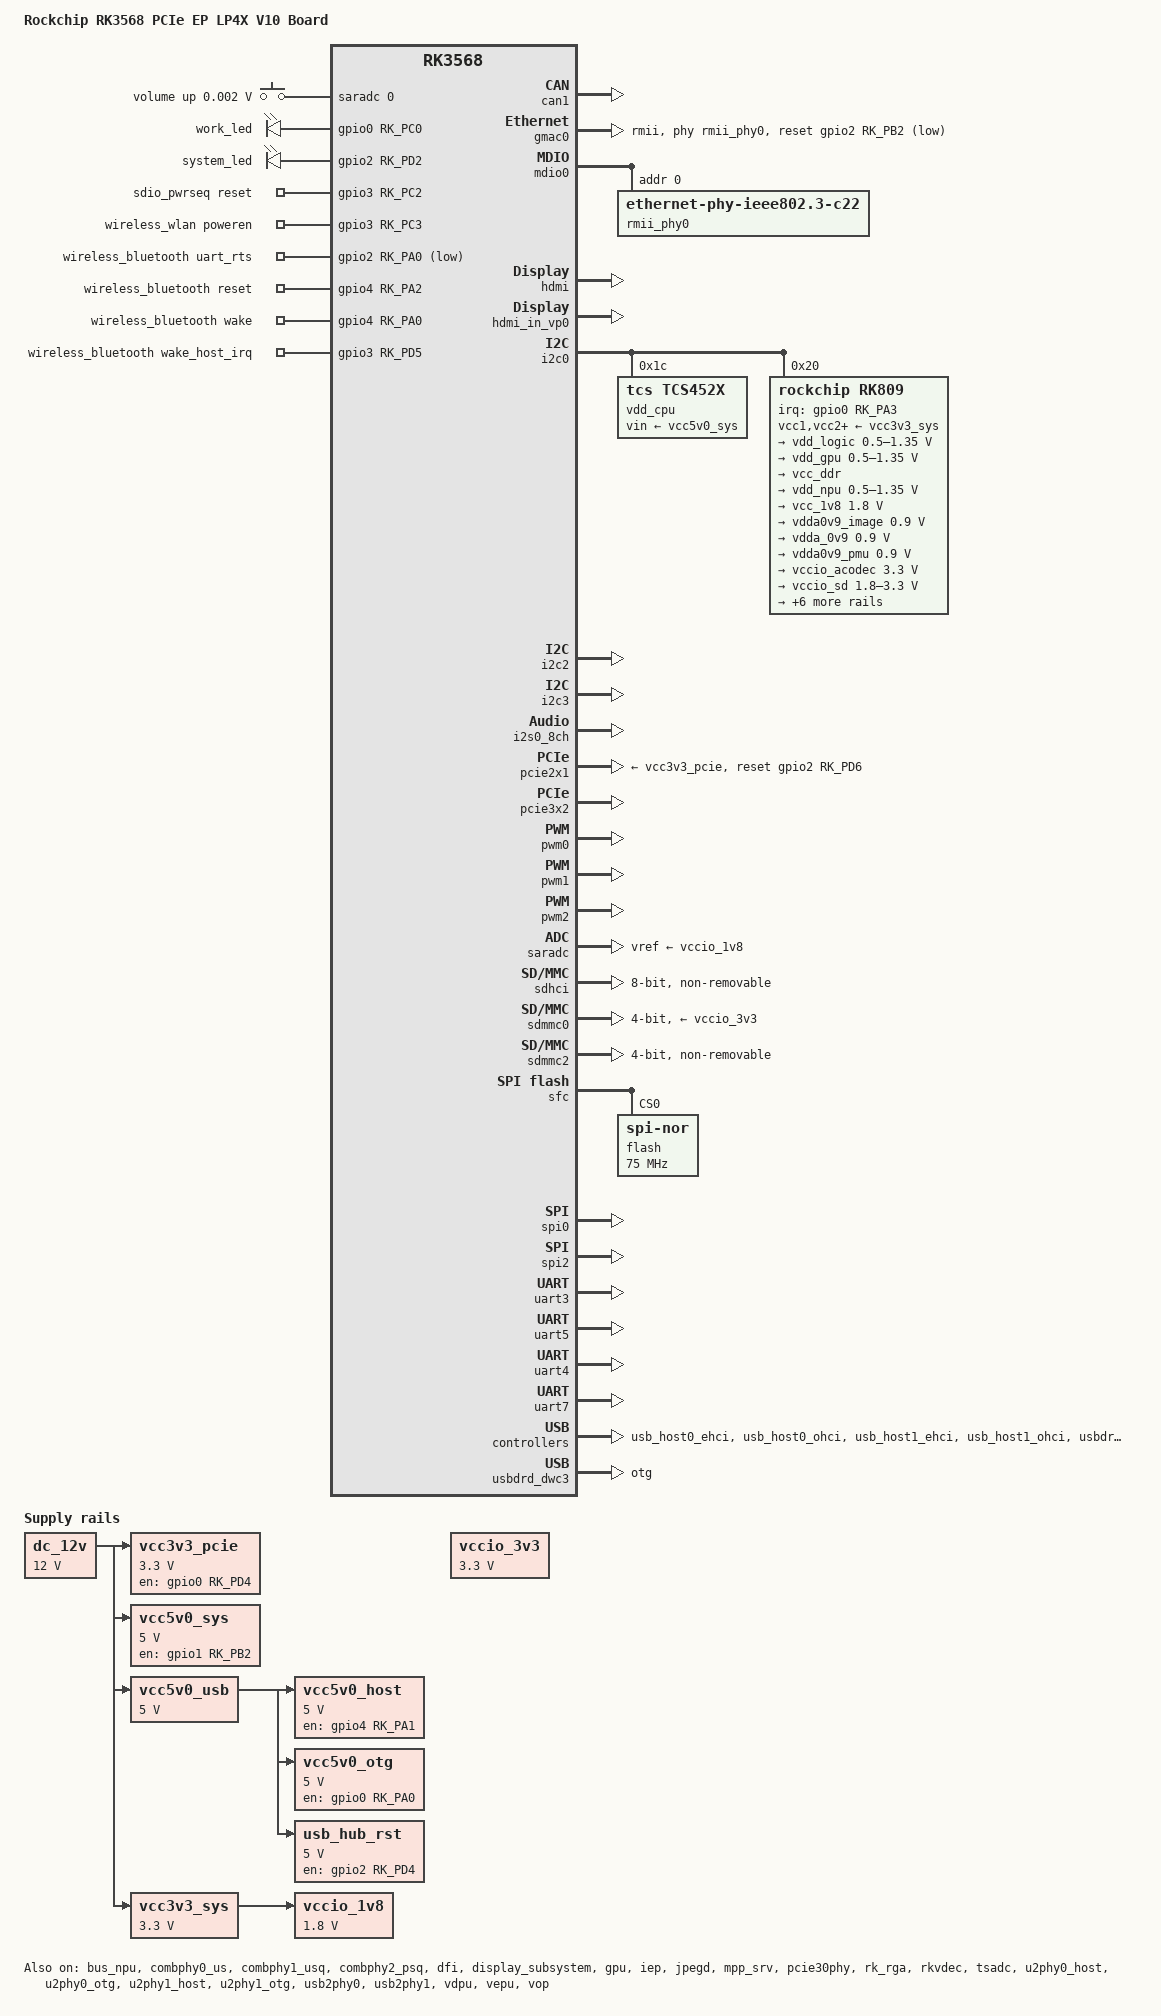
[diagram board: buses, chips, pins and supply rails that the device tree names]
// SPDX-License-Identifier: (GPL-2.0+ OR MIT)
/*
 * Copyright (c) 2023 Rockchip Electronics Co., Ltd.
 * 修改usb5V usb_hub_rst &vcc5v0_sys
 */

/dts-v1/;

#include <dt-bindings/gpio/gpio.h>
#include <dt-bindings/input/rk-input.h>
#include "rk3568.dtsi"

/ {
	model = "Rockchip RK3568 PCIe EP LP4X V10 Board";
	compatible = "rockchip,rk3568-pcie-ep-lp4x-v10", "rockchip,rk3568";

	aliases {
		ethernet0 = &gmac0;
	};

	adc_keys: adc-keys {
		compatible = "adc-keys";
		io-channels = <&saradc 0>;
		io-channel-names = "buttons";
		keyup-threshold-microvolt = <1800000>;
		poll-interval = <100>;

		vol-up-key {
			label = "volume up";
			linux,code = <KEY_VOLUMEUP>;
			press-threshold-microvolt = <1750>;
		};
	};
/*
	chosen: chosen {
		bootargs = "earlycon=uart8250,mmio32,0xfe660000 console=ttyFIQ0 root=PARTUUID=614e0000-0000 rw rootwait default_hugepagesz=32M hugepagesz=32M hugepages=1";
	};
*/
	dc_12v: dc-12v {
		compatible = "regulator-fixed";
		regulator-name = "dc_12v";
		regulator-always-on;
		regulator-boot-on;
		regulator-min-microvolt = <12000000>;
		regulator-max-microvolt = <12000000>;
	};

	fiq-debugger {
		compatible = "rockchip,fiq-debugger";
		rockchip,serial-id = <2>;
		rockchip,wake-irq = <0>;
		/* If enable uart uses irq instead of fiq */
		rockchip,irq-mode-enable = <1>;
		rockchip,baudrate = <1500000>;  /* Only 115200 and 1500000 */
		interrupts = <GIC_SPI 252 IRQ_TYPE_LEVEL_LOW>;
		pinctrl-names = "default";
		pinctrl-0 = <&uart2m0_xfer>;
		status = "okay";
	};

	hdmi_sound: hdmi-sound {
		status = "disabled";
		compatible = "rockchip,hdmi";
		rockchip,mclk-fs = <128>;
		rockchip,card-name = "rockchip-hdmi";
		rockchip,cpu = <&i2s0_8ch>;
		rockchip,codec = <&hdmi>;
		rockchip,jack-det;
	};

	leds: leds {
		compatible = "gpio-leds";

		work_led: work {
			gpios = <&gpio0 RK_PC0 GPIO_ACTIVE_HIGH>;
			linux,default-trigger = "heartbeat";
		};

		system_led: system-led {
			gpios = <&gpio2 RK_PD2 GPIO_ACTIVE_HIGH>;
			linux,default-trigger = "heartbeat";
		};
	};

	reserved-memory {
		#address-cells = <2>;
		#size-cells = <2>;
		ranges;
		bar0_region: bar0-region@0x3c000000 {
			reg = <0x0 0x3c000000 0x0 0x00400000>;
		};
		bar2_region: bar2-region@0x40000000 {
			reg = <0x0 0x40000000 0x0 0x04000000>;
		};
	};

	test-power {
		status = "okay";
	};

	sdio_pwrseq: sdio-pwrseq {
		compatible = "mmc-pwrseq-simple";
		clocks = <&rk809 1>;
		clock-names = "ext_clock";
		pinctrl-names = "default";
		pinctrl-0 = <&wifi_enable_h>;

		/*
		 * On the module itself this is one of these (depending
		 * on the actual card populated):
		 * - SDIO_RESET_L_WL_REG_ON
		 * - PDN (power down when low)
		 */
		post-power-on-delay-ms = <200>;
		reset-gpios = <&gpio3 RK_PC2 GPIO_ACTIVE_HIGH>;
	};

    wireless_wlan: wireless-wlan {
		compatible = "wlan-platdata";
		rockchip,grf = <&grf>;
		wifi_chip_type = "ap6398s";
		WIFI,poweren_gpio = <&gpio3 RK_PC3 GPIO_ACTIVE_HIGH>;
		status = "okay";
	};

	wireless_bluetooth: wireless-bluetooth {
		compatible = "bluetooth-platdata";
		clocks = <&rk809 1>;
		clock-names = "ext_clock";
		//wifi-bt-power-toggle;
		uart_rts_gpios = <&gpio2 RK_PA0 GPIO_ACTIVE_LOW>;
	    pinctrl-names = "default", "rts_gpio";
	    pinctrl-0 = <&uart5m0_rtsn>;
	    pinctrl-1 = <&uart5_gpios>;
	    BT,reset_gpio    = <&gpio4 RK_PA2 GPIO_ACTIVE_HIGH>;
	    BT,wake_gpio     = <&gpio4 RK_PA0 GPIO_ACTIVE_HIGH>;
	    BT,wake_host_irq = <&gpio3 RK_PD5 GPIO_ACTIVE_HIGH>;
		status = "okay";
	};

	vcc3v3_pcie: vcc3v3-pcie {
		compatible = "regulator-fixed";
		regulator-name = "vcc3v3_pcie";
		regulator-min-microvolt = <3300000>;
		regulator-max-microvolt = <3300000>;
		enable-active-high;
		gpio = <&gpio0 RK_PD4 GPIO_ACTIVE_HIGH>;
		startup-delay-us = <5000>;
		vin-supply = <&dc_12v>;
	};

	vcc5v0_sys: vcc5v0-sys {
		compatible = "regulator-fixed";
		regulator-name = "vcc5v0_sys";
		regulator-always-on;
		regulator-boot-on;
		regulator-min-microvolt = <5000000>;
		regulator-max-microvolt = <5000000>;
		vin-supply = <&dc_12v>;
	};

	vcc5v0_usb: vcc5v0-usb {
		compatible = "regulator-fixed";
		regulator-name = "vcc5v0_usb";
		regulator-always-on;
		regulator-boot-on;
		regulator-min-microvolt = <5000000>;
		regulator-max-microvolt = <5000000>;
		vin-supply = <&dc_12v>;
	};

	vcc5v0_host: vcc5v0-host-regulator {
		compatible = "regulator-fixed";
		regulator-name = "vcc5v0_host";
		regulator-boot-on;
		regulator-always-on;
		regulator-min-microvolt = <5000000>;
		regulator-max-microvolt = <5000000>;
		enable-active-high;
		gpio = <&gpio4 RK_PA1 GPIO_ACTIVE_HIGH>;
		vin-supply = <&vcc5v0_usb>;
		pinctrl-names = "default";
		pinctrl-0 = <&vcc5v0_host_en>;
	};

	vcc5v0_otg: vcc5v0-otg-regulator {
		compatible = "regulator-fixed";
		regulator-name = "vcc5v0_otg";
		regulator-min-microvolt = <5000000>;
		regulator-max-microvolt = <5000000>;
		enable-active-high;
		gpio = <&gpio0 RK_PA0 GPIO_ACTIVE_HIGH>;
		vin-supply = <&vcc5v0_usb>;
		pinctrl-names = "default";
		pinctrl-0 = <&vcc5v0_otg_en>;
	};

	usb_hub_rst: usb-hub-rst {
        compatible = "regulator-fixed";
        regulator-name = "usb_hub_rst";
        regulator-boot-on;
        regulator-always-on;
        regulator-min-microvolt = <5000000>;
        regulator-max-microvolt = <5000000>;
        enable-active-high;
        gpio = <&gpio2 RK_PD4 GPIO_ACTIVE_HIGH>;
        vin-supply = <&vcc5v0_usb>;
        pinctrl-names = "default";
        pinctrl-0 = <&usb_hub_rst_gpio>;
    };

	vcc3v3_sys: vcc3v3-sys {
		compatible = "regulator-fixed";
		regulator-name = "vcc3v3_sys";
		regulator-always-on;
		regulator-boot-on;
		regulator-min-microvolt = <3300000>;
		regulator-max-microvolt = <3300000>;
		vin-supply = <&dc_12v>;
	};

	vccio_1v8: vccio-1v8 {
		compatible = "regulator-fixed";
		regulator-name = "vccio_1v8";
		regulator-always-on;
		regulator-boot-on;
		regulator-min-microvolt = <1800000>;
		regulator-max-microvolt = <1800000>;
		vin-supply = <&vcc3v3_sys>;
	};

	vccio_3v3: vccio-3v3 {
		compatible = "regulator-fixed";
		regulator-name = "vccio_3v3";
		regulator-always-on;
		regulator-boot-on;
		regulator-min-microvolt = <3300000>;
		regulator-max-microvolt = <3300000>;
	};
};

&bus_npu {
	bus-supply = <&vdd_logic>;
	pvtm-supply = <&vdd_cpu>;
	status = "okay";
};

&can1 {
	assigned-clocks = <&cru CLK_CAN0>;
	assigned-clock-rates = <150000000>;
	pinctrl-names = "default";
	pinctrl-0 = <&can1m0_pins>;
	status = "okay";
};

&combphy0_us {
	status = "okay";
};

&combphy1_usq {
	status = "okay";
};

&combphy2_psq {
	 status = "okay";
};

&cpu0 {
	cpu-supply = <&vdd_cpu>;
};

&dfi {
	status = "okay";
};

&display_subsystem {
	status = "okay";
};

&gmac0 {
        phy-mode = "rmii";
        clock_in_out = "output";
        assigned-clocks = <&cru SCLK_GMAC0_RX_TX>, <&cru SCLK_GMAC0>;
        assigned-clock-parents = <&cru SCLK_GMAC0_RMII_SPEED>;
        assigned-clock-rates = <0>, <50000000>;
        snps,reset-gpio = <&gpio2 RK_PB2 GPIO_ACTIVE_LOW>;
        snps,reset-active-low;
        snps,reset-delays-us = <0 20000 100000>;
        pinctrl-names = "default";
        pinctrl-0 = <&gmac0_miim &gmac0_clkinout &gmac0_rx_bus2 &gmac0_tx_bus2>;
        phy-handle = <&rmii_phy0>;
        status = "okay";
};
&mdio0 {
        rmii_phy0: phy@0 {
        compatible = "ethernet-phy-ieee802.3-c22";
        reg = <0x0>;
        };
};

&gpu {
	mali-supply = <&vdd_gpu>;
	status = "okay";
};

&hdmi {
	status = "okay";
	rockchip,phy-table =
		<92812500  0x8009 0x0000 0x0270>,
		<165000000 0x800b 0x0000 0x026d>,
		<185625000 0x800b 0x0000 0x01ed>,
		<297000000 0x800b 0x0000 0x01ad>,
		<594000000 0x8029 0x0000 0x0088>,
		<000000000 0x0000 0x0000 0x0000>;
};

&hdmi_in_vp0 {
	status = "okay";
};

&hdmi_sound {
	status = "okay";
};

&i2c0 {
	status = "okay";

	vdd_cpu: tcs4525@1c {
		compatible = "tcs,tcs452x";
		reg = <0x1c>;
		vin-supply = <&vcc5v0_sys>;
		regulator-compatible = "fan53555-reg";
		regulator-name = "vdd_cpu";
		regulator-min-microvolt = <712500>;
		regulator-max-microvolt = <1390000>;
		regulator-init-microvolt = <900000>;
		regulator-ramp-delay = <2300>;
		fcs,suspend-voltage-selector = <1>;
		regulator-boot-on;
		regulator-always-on;
		regulator-state-mem {
			regulator-off-in-suspend;
		};
	};

	rk809: pmic@20 {
		compatible = "rockchip,rk809";
		reg = <0x20>;
		interrupt-parent = <&gpio0>;
		interrupts = <RK_PA3 IRQ_TYPE_LEVEL_LOW>;
		#clock-cells = <1>;
		pinctrl-names = "default";
		pinctrl-0 = <&pmic_int>;
		rockchip,system-power-controller;
		vcc1-supply = <&vcc3v3_sys>;
		vcc2-supply = <&vcc3v3_sys>;
		vcc3-supply = <&vcc3v3_sys>;
		vcc4-supply = <&vcc3v3_sys>;
		vcc5-supply = <&vcc3v3_sys>;
		vcc6-supply = <&vcc3v3_sys>;
		vcc7-supply = <&vcc3v3_sys>;
		vcc8-supply = <&vcc3v3_sys>;
		vcc9-supply = <&vcc3v3_sys>;
		wakeup-source;

		regulators {
			vdd_logic: DCDC_REG1 {
				regulator-name = "vdd_logic";
				regulator-always-on;
				regulator-boot-on;
				regulator-initial-mode = <0x2>;
				regulator-min-microvolt = <500000>;
				regulator-max-microvolt = <1350000>;
				regulator-ramp-delay = <6001>;

				regulator-state-mem {
					regulator-off-in-suspend;
				};
			};

			vdd_gpu: DCDC_REG2 {
				regulator-name = "vdd_gpu";
				regulator-initial-mode = <0x2>;
				regulator-min-microvolt = <500000>;
				regulator-max-microvolt = <1350000>;
				regulator-ramp-delay = <6001>;

				regulator-state-mem {
					regulator-off-in-suspend;
				};
			};

			vcc_ddr: DCDC_REG3 {
				regulator-name = "vcc_ddr";
				regulator-always-on;
				regulator-boot-on;
				regulator-initial-mode = <0x2>;

				regulator-state-mem {
					regulator-on-in-suspend;
				};
			};

			vdd_npu: DCDC_REG4 {
				regulator-name = "vdd_npu";
				regulator-initial-mode = <0x2>;
				regulator-min-microvolt = <500000>;
				regulator-max-microvolt = <1350000>;
				regulator-ramp-delay = <6001>;

				regulator-state-mem {
					regulator-off-in-suspend;
				};
			};

			vcc_1v8: DCDC_REG5 {
				regulator-name = "vcc_1v8";
				regulator-always-on;
				regulator-boot-on;
				regulator-min-microvolt = <1800000>;
				regulator-max-microvolt = <1800000>;

				regulator-state-mem {
					regulator-off-in-suspend;
				};
			};

			vdda0v9_image: LDO_REG1 {
				regulator-name = "vdda0v9_image";
				regulator-min-microvolt = <900000>;
				regulator-max-microvolt = <900000>;

				regulator-state-mem {
					regulator-off-in-suspend;
				};
			};

			vdda_0v9: LDO_REG2 {
				regulator-name = "vdda_0v9";
				regulator-always-on;
				regulator-boot-on;
				regulator-min-microvolt = <900000>;
				regulator-max-microvolt = <900000>;

				regulator-state-mem {
					regulator-off-in-suspend;
				};
			};

			vdda0v9_pmu: LDO_REG3 {
				regulator-name = "vdda0v9_pmu";
				regulator-always-on;
				regulator-boot-on;
				regulator-min-microvolt = <900000>;
				regulator-max-microvolt = <900000>;

				regulator-state-mem {
					regulator-on-in-suspend;
					regulator-suspend-microvolt = <900000>;
				};
			};

			vccio_acodec: LDO_REG4 {
				regulator-name = "vccio_acodec";
				regulator-min-microvolt = <3300000>;
				regulator-max-microvolt = <3300000>;

				regulator-state-mem {
					regulator-off-in-suspend;
				};
			};

			vccio_sd: LDO_REG5 {
				regulator-name = "vccio_sd";
				regulator-min-microvolt = <1800000>;
				regulator-max-microvolt = <3300000>;

				regulator-state-mem {
					regulator-off-in-suspend;
				};
			};

			vcc3v3_pmu: LDO_REG6 {
				regulator-name = "vcc3v3_pmu";
				regulator-always-on;
				regulator-boot-on;
				regulator-min-microvolt = <3300000>;
				regulator-max-microvolt = <3300000>;

				regulator-state-mem {
					regulator-on-in-suspend;
					regulator-suspend-microvolt = <3300000>;
				};
			};

			vcca_1v8: LDO_REG7 {
				regulator-name = "vcca_1v8";
				regulator-always-on;
				regulator-boot-on;
				regulator-min-microvolt = <1800000>;
				regulator-max-microvolt = <1800000>;

				regulator-state-mem {
					regulator-off-in-suspend;
				};
			};

			vcca1v8_pmu: LDO_REG8 {
				regulator-name = "vcca1v8_pmu";
				regulator-always-on;
				regulator-boot-on;
				regulator-min-microvolt = <1800000>;
				regulator-max-microvolt = <1800000>;

				regulator-state-mem {
					regulator-on-in-suspend;
					regulator-suspend-microvolt = <1800000>;
				};
			};

			vcca1v8_image: LDO_REG9 {
				regulator-name = "vcca1v8_image";
				regulator-min-microvolt = <1800000>;
				regulator-max-microvolt = <1800000>;

				regulator-state-mem {
					regulator-off-in-suspend;
				};
			};

			vcc_3v3: SWITCH_REG1 {
				regulator-name = "vcc_3v3";
				regulator-always-on;
				regulator-boot-on;

				regulator-state-mem {
					regulator-off-in-suspend;
				};
			};

			vcc3v3_sd: SWITCH_REG2 {
				regulator-name = "vcc3v3_sd";
				regulator-always-on;
				regulator-boot-on;

				regulator-state-mem {
					regulator-off-in-suspend;
				};
			};
		};
	};
};

&i2c2 {
	status = "okay";
	pinctrl-names = "default";
	pinctrl-0 = <&i2c2m1_xfer>;
};

&i2c3 {
	status = "okay";
	pinctrl-names = "default";
	pinctrl-0 = <&i2c3m1_xfer>;
};
/*
&i2c5 {
	status = "okay";
	hym8563: hym8563 {
		status = "okay";
		reg = <0x51>;
		#clock-cells = <0>;
		compatible = "haoyu,hym8563";
		clock-frequency= <32768>;
		ckock-output-names = "xin32k";
	};
};
*/
&i2s0_8ch {
	status = "okay";
};

&iep {
	status = "okay";
};

&iep_mmu {
	status = "okay";
};

&jpegd {
	status = "okay";
};

&jpegd_mmu {
	status = "okay";
};

&mpp_srv {
	status = "okay";
};

&pcie2x1 {
	reset-gpios = <&gpio2 RK_PD6 GPIO_ACTIVE_HIGH>;
	vpcie3v3-supply = <&vcc3v3_pcie>;
	status = "okay";
};

&pcie30phy {
	status = "okay";
};

&pcie3x2 {
	compatible = "rockchip,rk3568-pcie-std-ep";
	memory-region = <&bar0_region>, <&bar2_region>;
	memory-region-names = "bar0", "bar2";
	status = "okay";
};

&pinctrl {
	usb {
		vcc5v0_host_en: vcc5v0-host-en {
			rockchip,pins = <4 RK_PA1 RK_FUNC_GPIO &pcfg_pull_none>;
		};

		vcc5v0_otg_en: vcc5v0-otg-en {
			rockchip,pins = <0 RK_PA0 RK_FUNC_GPIO &pcfg_pull_none>;
		};

		usb_hub_rst_gpio: usb-hub-rst-gpio {
			rockchip,pins = <2 RK_PD4 RK_FUNC_GPIO &pcfg_pull_none>;
		};
	};

	sdio-pwrseq {
		wifi_enable_h: wifi-enable-h {
			rockchip,pins = <3 RK_PC2 RK_FUNC_GPIO &pcfg_pull_none>;
		};
	};

	wireless-bluetooth {
		uart5_gpios: uart5-gpios {
			rockchip,pins = <2 RK_PD6 RK_FUNC_GPIO &pcfg_pull_none>;
		};
	};

	gmac0 {
		eth_phy0_reset_pin: eth-phy0-reset-pin {
			rockchip,pins = <2 RK_PB2 RK_FUNC_GPIO &pcfg_pull_up>;
		};
	};

	pmic {
		pmic_int: pmic-int {
			rockchip,pins =
				<0 RK_PA3 RK_FUNC_GPIO &pcfg_pull_up>;
		};
	};

	stata {
		sata_pm_reset: sata-pm-reset {
			rockchip,pins = <4 RK_PA3 RK_FUNC_GPIO &pcfg_pull_up>;
		};
	};
};
/*
&pmu_io_domains {
	status = "okay";
	pmuio2-supply = <&vccio_3v3>;
	vccio1-supply = <&vccio_3v3>;
	vccio3-supply = <&vccio_3v3>;
	vccio4-supply = <&vccio_3v3>;
	vccio5-supply = <&vccio_3v3>;
	vccio6-supply = <&vccio_3v3>;
	vccio7-supply = <&vccio_3v3>;
};
*/
&pmu_io_domains {
	status = "okay";
	pmuio2-supply = <&vcc_3v3>;
	vccio1-supply = <&vccio_acodec>;
	vccio3-supply = <&vccio_sd>;
	vccio4-supply = <&vcc_1v8>;
	vccio5-supply = <&vcc_3v3>;
	vccio6-supply = <&vcc_1v8>;
	vccio7-supply = <&vcc_3v3>;
};

&pwm0 {
	status = "okay";
};

&pwm1 {
	status = "okay";
};

&pwm2 {
	status = "okay";
};

&rk_rga {
	status = "okay";
};

&rkvdec {
	status = "okay";
};

&rkvdec_mmu {
	status = "okay";
};

&saradc {
	status = "okay";
	vref-supply = <&vccio_1v8>;
};

&sdhci {
	bus-width = <8>;
	no-sdio;
	no-sd;
	non-removable;
	max-frequency = <200000000>;
	status = "okay";
};

&sdmmc0 {
	max-frequency = <150000000>;
	no-sdio;
	no-mmc;
	bus-width = <4>;
	cap-mmc-highspeed;
	cap-sd-highspeed;
	disable-wp;
	sd-uhs-sdr104;
	vmmc-supply = <&vccio_3v3>;
	vqmmc-supply = <&vccio_3v3>;
	pinctrl-names = "default";
	pinctrl-0 = <&sdmmc0_bus4 &sdmmc0_clk &sdmmc0_cmd &sdmmc0_det>;
	status = "okay";
};

// wifi
&sdmmc2 {
    max-frequency = <150000000>;
    supports-sdio;
    bus-width = <4>;
    disable-wp;
    cap-sd-highspeed;
    cap-sdio-irq;
    keep-power-in-suspend;
    mmc-pwrseq = <&sdio_pwrseq>;
    non-removable;
    pinctrl-names = "default";
    pinctrl-0 = <&sdmmc2m0_bus4 &sdmmc2m0_cmd &sdmmc2m0_clk>;
    sd-uhs-sdr104;
    status = "okay";
};

&sfc {
	status = "okay";

	flash@0 {
		compatible = "jedec,spi-nor";
		reg = <0>;
		spi-max-frequency = <75000000>;
		spi-rx-bus-width = <4>;
		spi-tx-bus-width = <1>;
	};
};

&spi0 {
	status = "okay";
	pinctrl-names = "default", "high_speed";
	pinctrl-0 = <&spi0m1_cs0 &spi0m1_pins>;
	pinctrl-1 = <&spi0m1_cs0 &spi0m1_pins_hs>;
};

&spi2 {
	status = "okay";
	pinctrl-names = "default", "high_speed";
	pinctrl-0 = <&spi2m1_cs0 &spi2m1_cs1 &spi2m1_pins>;
	pinctrl-1 = <&spi2m1_cs0 &spi2m1_cs1 &spi2m1_pins_hs>;
};

&tsadc {
	status = "okay";
};

&uart3 {
	status = "okay";
	pinctrl-names = "default";
	pinctrl-0 = <&uart3m1_xfer>;
};

&uart5 {
	status = "okay";
	pinctrl-names = "default";
	pinctrl-0 = <&uart5m0_xfer &uart5m0_ctsn>;
};

&vcc5v0_sys {
	gpio = <&gpio1 RK_PB2 GPIO_ACTIVE_HIGH>;
	enable-active-high;
};

/* RS485 */
&uart4 {
	status = "okay";
	pinctrl-names = "default";
	pinctrl-0 = <&uart4m0_xfer &uart4m0_ctsn &uart4m0_rtsn>;
};

&uart7 {
	status = "okay";
	pinctrl-names = "default";
	pinctrl-0 = <&uart7m1_xfer>;
};

&u2phy0_host {
	phy-supply = <&vcc5v0_host>;
	status = "okay";
};

&u2phy0_otg {
	vbus-supply = <&vcc5v0_otg>;
	status = "okay";
};

&u2phy1_host {
	phy-supply = <&vcc5v0_host>;
	status = "okay";
};

&u2phy1_otg {
	phy-supply = <&vcc5v0_host>;
	status = "okay";
};

&usb2phy0 {
	status = "okay";
};

&usb2phy1 {
	status = "okay";
};

&usb_host0_ehci {
	status = "okay";
};

&usb_host0_ohci {
	status = "okay";
};

&usb_host1_ehci {
	status = "okay";
};

&usb_host1_ohci {
	status = "okay";
};

&usbdrd_dwc3 {
	dr_mode = "otg";
	extcon = <&usb2phy0>;
	status = "okay";
};

&usbdrd30 {
	status = "okay";
};

&usbhost_dwc3 {
	status = "okay";
};

&usbhost30 {
	status = "okay";
};

&vdpu {
	status = "okay";
};

&vdpu_mmu {
	status = "okay";
};

&vepu {
	status = "okay";
};

&vepu_mmu {
	status = "okay";
};

&vop {
	status = "okay";
	assigned-clocks = <&cru DCLK_VOP0>, <&cru DCLK_VOP1>;
	assigned-clock-parents = <&pmucru PLL_HPLL>, <&cru PLL_VPLL>;
};

&vop_mmu {
	status = "okay";
};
